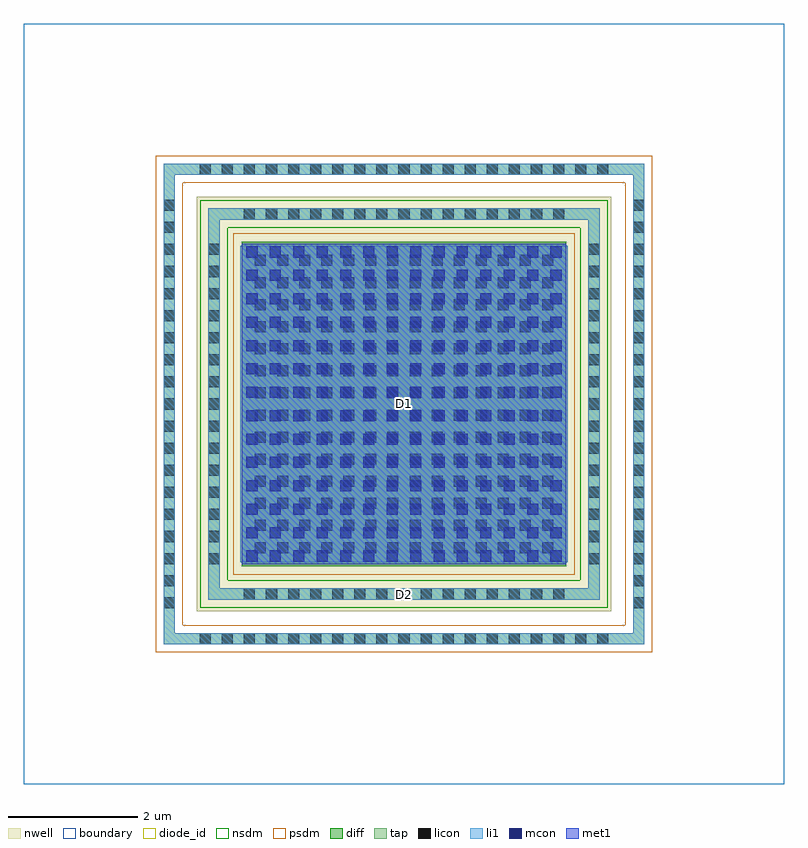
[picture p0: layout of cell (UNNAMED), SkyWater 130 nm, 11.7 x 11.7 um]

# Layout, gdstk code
import gdstk
lib = gdstk.Library(unit=1e-6, precision=1e-09)
def R(c, l, rs):  # rectangles x0, y0, x1, y1
    for r in rs: c.add(gdstk.rectangle(r[:2], r[2:], *l))
def A(c, l, x, y, w, h, nx, ny, dx, dy):  # array of equal rectangles
    R(c, l, [(x+i*dx, y+j*dy, x+i*dx+w, y+j*dy+h) for i in range(nx) for j in range(ny)])
nwell = (64, 20)
diff = (65, 20)
tap = (65, 44)
licon = (66, 44)
li1 = (67, 20)
mcon = (67, 44)
met1 = (68, 20)
diode_id = (81, 23)
nsdm = (93, 44)
psdm = (94, 20)
boundary = (235, 4)

c__unnamed_ = lib.new_cell('(UNNAMED)')
R(c__unnamed_, nwell, [(-3.19,-3.19,3.19,3.19)])
R(c__unnamed_, diff, [(-2.5,-2.5,2.5,2.5)])
R(c__unnamed_, tap, [(-3.7,-3.7,3.7,-3.53), (-3.7,-3.53,-3.53,3.53), (3.53,-3.53,3.7,3.53), (-3.01,-3.01,3.01,-2.84), (-3.01,-2.84,-2.84,2.84), (2.84,-2.84,3.01,2.84), (-3.01,2.84,3.01,3.01), (-3.7,3.53,3.7,3.7)])
A(c__unnamed_, licon, -3.145, -3.7, 0.17, 0.17, 19, 2, 0.34, 7.23)
A(c__unnamed_, licon, -3.7, -3.145, 0.17, 0.17, 1, 19, 0, 0.34)
A(c__unnamed_, licon, 3.53, -3.145, 0.17, 0.17, 1, 19, 0, 0.34)
A(c__unnamed_, licon, -2.465, -3.01, 0.17, 0.17, 15, 2, 0.34, 5.85)
A(c__unnamed_, licon, -3.01, -2.465, 0.17, 0.17, 1, 15, 0, 0.34)
A(c__unnamed_, licon, 2.84, -2.465, 0.17, 0.17, 1, 15, 0, 0.34)
A(c__unnamed_, licon, -2.295, -2.295, 0.17, 0.17, 14, 14, 0.34, 0.34)
R(c__unnamed_, li1, [(-3.7,-3.7,3.7,-3.53), (-3.7,-3.53,-3.53,3.53), (3.53,-3.53,3.7,3.53), (-3.01,-3.01,3.01,-2.84), (-3.01,-2.84,-2.84,2.84), (2.84,-2.84,3.01,2.84), (-2.52,-2.44,2.52,2.44), (-3.01,2.84,3.01,3.01), (-3.7,3.53,3.7,3.7)])
A(c__unnamed_, mcon, -2.425, -2.425, 0.17, 0.17, 14, 14, 0.36, 0.36)
R(c__unnamed_, met1, [(-2.5,-2.47,2.5,2.47)])
R(c__unnamed_, diode_id, [(-2.5,-2.5,2.5,2.5)])
R(c__unnamed_, nsdm, [(-3.135,-3.135,3.135,-2.715), (-3.135,-2.715,-2.715,2.715), (2.715,-2.715,3.135,2.715), (-3.135,2.715,3.135,3.135)])
R(c__unnamed_, psdm, [(-3.825,-3.825,3.825,-3.405), (-3.825,-3.405,-3.405,3.405), (3.405,-3.405,3.825,3.405), (-2.625,-2.625,2.625,2.625), (-3.825,3.405,3.825,3.825)])
R(c__unnamed_, boundary, [(-5.85,-5.85,5.85,5.85)])
c__unnamed_.add(gdstk.Label('D2', (0,-2.925), layer=67, texttype=5))
c__unnamed_.add(gdstk.Label('D1', (0,0), layer=67, texttype=5))

lib.write_gds('_UNNAMED_.gds')
